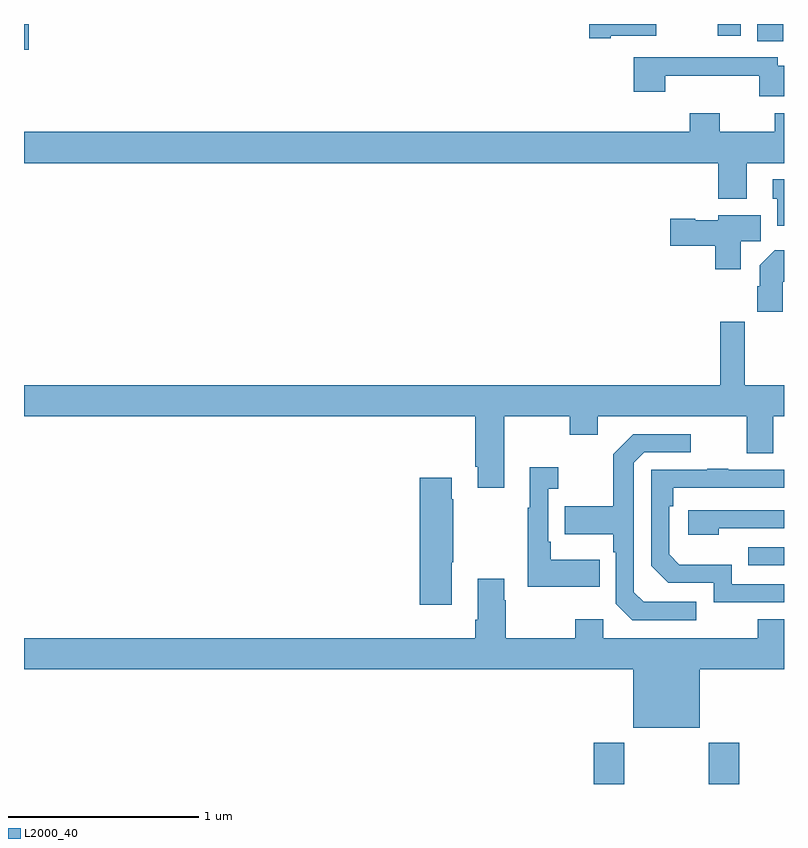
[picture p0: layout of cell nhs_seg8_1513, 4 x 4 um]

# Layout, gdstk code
import gdstk
lib = gdstk.Library(unit=1e-6, precision=1e-09)
def R(c, l, rs):  # rectangles x0, y0, x1, y1
    for r in rs: c.add(gdstk.rectangle(r[:2], r[2:], *l))
def P(c, l, *ps):  # polygons
    for p in ps: c.add(gdstk.Polygon(p, *l))
L2000_40 = (2000, 40)

nhs_seg8_1513 = lib.new_cell('nhs_seg8_1513')
R(nhs_seg8_1513, L2000_40, [(209.999,1111.9,210.159,1112.116), (210.604,1111.9,210.764,1112.116), (210.811,1113.051,211,1113.147), (207,1115.764,207.025,1115.9), (210.86,1115.809,210.997,1115.9), (210.65,1115.838,210.772,1115.9)])
P(nhs_seg8_1513, L2000_40, [(210.088,1115.837),(210.328,1115.837),(210.328,1115.9),(209.976,1115.9),(209.976,1115.825),(210.088,1115.825)],
  [(211,1115.68),(210.966,1115.68),(210.966,1115.724),(210.209,1115.724),(210.209,1115.544),(210.374,1115.544),(210.374,1115.627),(210.87,1115.627),(210.87,1115.519),(211,1115.519)],
  [(210.503,1115.431),(210.503,1115.332),(207,1115.332),(207,1115.168),(210.653,1115.168),(210.653,1114.979),(210.805,1114.979),(210.805,1115.168),(211,1115.168),(211,1115.431),(210.952,1115.431),(210.952,1115.332),(210.663,1115.332),(210.663,1115.431)],
  [(211,1115.083),(210.941,1115.083),(210.941,1114.98),(210.965,1114.98),(210.965,1114.838),(211,1114.838)],
  [(210.772,1114.756),(210.877,1114.756),(210.877,1114.894),(210.654,1114.894),(210.654,1114.867),(210.534,1114.867),(210.534,1114.875),(210.402,1114.875),(210.402,1114.733),(210.638,1114.733),(210.638,1114.608),(210.772,1114.608)],
  [(210.994,1114.544),(211,1114.544),(211,1114.708),(210.95,1114.708),(210.872,1114.63),(210.872,1114.52),(210.86,1114.52),(210.86,1114.386),(210.994,1114.386)],
  [(209.527,1113.836),(209.872,1113.836),(209.872,1113.737),(210.019,1113.737),(210.019,1113.836),(210.803,1113.836),(210.803,1113.642),(210.943,1113.642),(210.943,1113.836),(211,1113.836),(211,1114),(210.793,1114),(210.793,1114.333),(210.664,1114.333),(210.664,1114),(207,1114),(207,1113.836),(209.375,1113.836),(209.375,1113.571),(209.387,1113.571),(209.387,1113.459),(209.527,1113.459)],
  [(210.538,1112.859),(210.261,1112.859),(210.21,1112.91),(210.21,1113.591),(210.264,1113.645),(210.508,1113.645),(210.508,1113.741),(210.207,1113.741),(210.102,1113.635),(210.102,1113.363),(209.845,1113.363),(209.845,1113.215),(210.102,1113.215),(210.102,1113.119),(210.114,1113.119),(210.114,1112.85),(210.201,1112.763),(210.538,1112.763)],
  [(210.029,1113.079),(209.773,1113.079),(209.773,1113.175),(209.76,1113.175),(209.76,1113.455),(209.812,1113.455),(209.812,1113.568),(209.663,1113.568),(209.663,1113.355),(209.652,1113.355),(209.652,1112.939),(210.029,1112.939)],
  [(211,1112.952),(210.726,1112.952),(210.726,1113.055),(210.449,1113.055),(210.396,1113.108),(210.396,1113.362),(210.416,1113.362),(210.416,1113.459),(211,1113.459),(211,1113.555),(210.707,1113.555),(210.707,1113.56),(210.595,1113.56),(210.595,1113.555),(210.3,1113.555),(210.3,1113.048),(210.39,1112.958),(210.63,1112.958),(210.63,1112.856),(211,1112.856)],
  [(209.251,1113.067),(209.259,1113.067),(209.259,1113.398),(209.251,1113.398),(209.251,1113.511),(209.084,1113.511),(209.084,1112.844),(209.251,1112.844)],
  [(210.656,1113.246),(211,1113.246),(211,1113.342),(210.495,1113.342),(210.495,1113.212),(210.656,1113.212)],
  [(210.556,1112.504),(211,1112.504),(211,1112.767),(210.862,1112.767),(210.862,1112.668),(210.048,1112.668),(210.048,1112.767),(209.902,1112.767),(209.902,1112.668),(209.535,1112.668),(209.535,1112.867),(209.527,1112.867),(209.527,1112.98),(209.387,1112.98),(209.387,1112.764),(209.375,1112.764),(209.375,1112.668),(207,1112.668),(207,1112.504),(210.206,1112.504),(210.206,1112.195),(210.556,1112.195)])

lib.write_gds('nhs_seg8_1513.gds')
